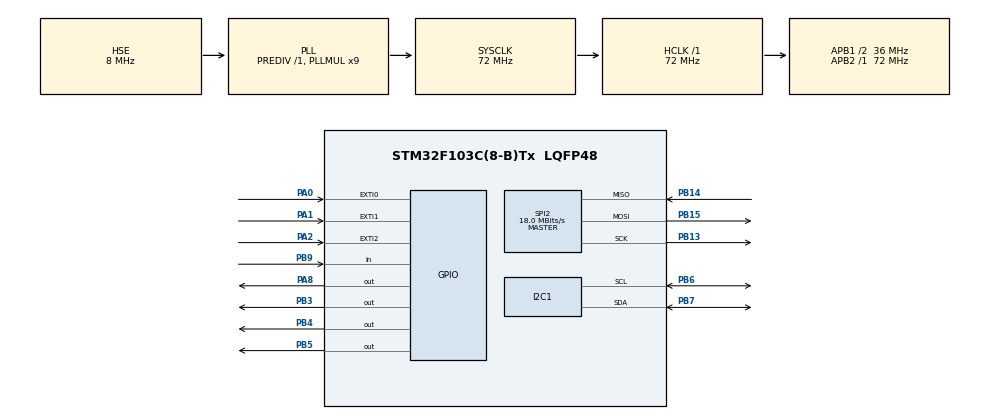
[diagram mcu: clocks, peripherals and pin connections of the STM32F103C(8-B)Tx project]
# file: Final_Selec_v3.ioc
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Mcu.Family=STM32F1
Mcu.Name=STM32F103C(8-B)Tx
Mcu.Package=LQFP48
NVIC.EXTI0_IRQn=true\:0\:0\:false\:false\:true\:true\:true\:true
NVIC.EXTI1_IRQn=true\:0\:0\:false\:false\:true\:true\:true\:true
NVIC.EXTI2_IRQn=true\:0\:0\:false\:false\:true\:true\:true\:true
NVIC.PriorityGroup=NVIC_PRIORITYGROUP_4
PA0-WKUP.GPIO_ModeDefaultEXTI=GPIO_MODE_IT_FALLING
PA0-WKUP.GPIO_PuPd=GPIO_PULLUP
PA0-WKUP.Signal=GPXTI0
PA1.GPIO_ModeDefaultEXTI=GPIO_MODE_IT_FALLING
PA1.GPIO_PuPd=GPIO_PULLUP
PA1.Signal=GPXTI1
PA13.Mode=Serial_Wire
PA13.Signal=SYS_JTMS-SWDIO
PA14.Mode=Serial_Wire
PA14.Signal=SYS_JTCK-SWCLK
PA2.GPIO_ModeDefaultEXTI=GPIO_MODE_IT_FALLING
PA2.GPIO_PuPd=GPIO_PULLUP
PA2.Signal=GPXTI2
PA8.Signal=GPIO_Output
PB13.Mode=Full_Duplex_Master
PB13.Signal=SPI2_SCK
PB14.Mode=Full_Duplex_Master
PB14.Signal=SPI2_MISO
PB15.Mode=Full_Duplex_Master
PB15.Signal=SPI2_MOSI
PB3.PinState=GPIO_PIN_RESET
PB3.Signal=GPIO_Output
PB4.Signal=GPIO_Output
PB5.Signal=GPIO_Output
PB6.Mode=I2C
PB6.Signal=I2C1_SCL
PB7.Mode=I2C
PB7.Signal=I2C1_SDA
PB9.Signal=GPIO_Input
PD0-OSC_IN.Mode=HSE-External-Oscillator
PD0-OSC_IN.Signal=RCC_OSC_IN
PD1-OSC_OUT.Mode=HSE-External-Oscillator
PD1-OSC_OUT.Signal=RCC_OSC_OUT
ProjectManager.HeapSize=0x200
ProjectManager.StackSize=0x400
ProjectManager.TargetToolchain=STM32CubeIDE
RCC.AHBFreq_Value=72000000
RCC.APB1CLKDivider=RCC_HCLK_DIV2
RCC.APB1Freq_Value=36000000
RCC.APB1TimFreq_Value=72000000
RCC.APB2Freq_Value=72000000
RCC.APB2TimFreq_Value=72000000
RCC.HCLKFreq_Value=72000000
RCC.PLLMUL=RCC_PLL_MUL9
RCC.PLLSourceVirtual=RCC_PLLSOURCE_HSE
RCC.SYSCLKFreq_VALUE=72000000
RCC.SYSCLKSource=RCC_SYSCLKSOURCE_PLLCLK
RCC.USBFreq_Value=72000000
SPI2.CalculateBaudRate=18.0 MBits/s
SPI2.Direction=SPI_DIRECTION_2LINES
SPI2.Mode=SPI_MODE_MASTER
SPI2.VirtualType=VM_MASTER
TIM1.Prescaler=71
VP_TIM1_VS_ClockSourceINT.Mode=Internal
board=custom

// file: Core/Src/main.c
/* USER CODE BEGIN Header */
/**
  ******************************************************************************
  * @file           : main.c
  * @brief          : Main program body
  ******************************************************************************
  * @attention
  *
  * Copyright (c) 2023 STMicroelectronics.
  * All rights reserved.
  *
  * This software is licensed under terms that can be found in the LICENSE file
  * in the root directory of this software component.
  * If no LICENSE file comes with this software, it is provided AS-IS.
  *
  ******************************************************************************
  */
/* USER CODE END Header */
#include "main.h"

/* USER CODE BEGIN Includes */
#include "stdio.h"

#include "MENU.h"
#include "DHT11.h"
#include "BMP280.h"
#include "liquidcrystal_i2c.h"
/* USER CODE END Includes */

I2C_HandleTypeDef hi2c1;

SPI_HandleTypeDef hspi2;

TIM_HandleTypeDef htim1;

/* USER CODE BEGIN PV */
extern int count;
extern volatile int menu_button;
/* USER CODE END PV */

void SystemClock_Config(void);
static void MX_GPIO_Init(void);
static void MX_I2C1_Init(void);
static void MX_SPI2_Init(void);
static void MX_TIM1_Init(void);

int main(void)
{

  /* MCU Configuration--------------------------------------------------------*/

  /* Reset of all peripherals, Initializes the Flash interface and the Systick. */
  HAL_Init();

  /* Configure the system clock */
  SystemClock_Config();

  /* Initialize all configured peripherals */
  MX_GPIO_Init();
  MX_I2C1_Init();
  MX_SPI2_Init();
  MX_TIM1_Init();
  /* USER CODE BEGIN 2 */

  /*****************************************************************************************************/
  /*****************************************16X2 LCD Initialization*************************************/

  HD44780_Init(2);
  HD44780_PrintStr("WELCOME!!!");

  /*****************************************************************************************************/
  /***************************************** DHT11 Timer  Start*****************************************/

  HAL_TIM_Base_Start(&htim1);
  DHT11_read_value DHT11_read_value2;  //structure to store Temperature and humidity value
  uint8_t RHI, TCI;
  char strCopy1[15];

  /*****************************************************************************************************/
  /*****************************************BMP280   Initialization*************************************/

  BMP280_init();
  char buf1[10];				 //Buffer for storing float to string converted value
  read_value read_value_main;    //structure of BMP280 measure function passing temperature,pressure,altitude value
  float t[3];
  /* USER CODE END 2 */

  /* Infinite loop */
  while (1)
  {

    /* USER CODE BEGIN 3 */
	  BMP280_get_calib_values();
	  HAL_Delay(100);

	  //Reading BMP280 sensor value in a structure
	  read_value_main=BMP280_measure();

	  t[0]=read_value_main.temp;
	  t[1]=read_value_main.press/100;
	  t[2]=-1*read_value_main.alti/100;

	  //Displaying The value collected from BMP289 sensor
	  HD44780_Clear();
	  HD44780_SetCursor(2,0);
	  gcvt(t[0], 7, buf1);
	  HD44780_PrintStr("Temperature:");
	  HD44780_SetCursor(5,1);
	  HD44780_PrintStr(buf1);
 	  HAL_Delay(1000);

	  HD44780_Clear();
	  HD44780_SetCursor(2,0);
	  gcvt(t[1], 5, buf1);
	  HD44780_PrintStr("Pressure:");
	  HD44780_SetCursor(5,1);
	  HD44780_PrintStr(buf1);
	  HAL_Delay(1000);

	  /*****************************************************************************************************************/
	  /************************************************Value from DHT11 sensor******************************************/

	  DHT11_read_value2=DHT11_Print_Value();
	  TCI =DHT11_read_value2.DHT11_temp;
	  RHI =DHT11_read_value2.DHT11_humi;

	  HD44780_Clear();
	  HD44780_SetCursor(2,0);
	  HD44780_PrintStr("Humidity:");
	  HD44780_SetCursor(5,1);
	  sprintf(strCopy1, "%d.%d %% ",RHI);
	  HD44780_PrintStr(strCopy1);
	  HAL_Delay(1000);

	  /*****************************************************************************************************************/
	  /***************************************Relay program to Take corrective measures*********************************/

	  if (t[0]>31)   //Temperature
	  {
		  HAL_GPIO_WritePin(GPIOB, GPIO_PIN_3, GPIO_PIN_SET);
	  }
	  else
	  {
		  HAL_GPIO_WritePin(GPIOB, GPIO_PIN_3, GPIO_PIN_RESET);
	  }

	  if (t[1]>970)	//Pressure
	  {
		  HAL_GPIO_WritePin(GPIOB, GPIO_PIN_4, GPIO_PIN_SET);
	  }
	  else
	  {
		  HAL_GPIO_WritePin(GPIOB, GPIO_PIN_4, GPIO_PIN_RESET);
	  }

	  if (RHI>45)		//Humidity
	  {
		  HAL_GPIO_WritePin(GPIOB, GPIO_PIN_5, GPIO_PIN_SET);
	  }
	  else
	  {
		  HAL_GPIO_WritePin(GPIOB, GPIO_PIN_5, GPIO_PIN_RESET);
	  }

	  /****************************************************************************************************************/
	  /************************************************Interrupt Button Code ******************************************/

	  if (menu_button==1 && count>0)   //interrupt
	  {
		  Menu();
	  }
  }
  /* USER CODE END 3 */
}

void SystemClock_Config(void)
{
  RCC_OscInitTypeDef RCC_OscInitStruct = {0};
  RCC_ClkInitTypeDef RCC_ClkInitStruct = {0};

  /** Initializes the RCC Oscillators according to the specified parameters
  * in the RCC_OscInitTypeDef structure.
  */
  RCC_OscInitStruct.OscillatorType = RCC_OSCILLATORTYPE_HSE;
  RCC_OscInitStruct.HSEState = RCC_HSE_ON;
  RCC_OscInitStruct.HSEPredivValue = RCC_HSE_PREDIV_DIV1;
  RCC_OscInitStruct.HSIState = RCC_HSI_ON;
  RCC_OscInitStruct.PLL.PLLState = RCC_PLL_ON;
  RCC_OscInitStruct.PLL.PLLSource = RCC_PLLSOURCE_HSE;
  RCC_OscInitStruct.PLL.PLLMUL = RCC_PLL_MUL9;
  if (HAL_RCC_OscConfig(&RCC_OscInitStruct) != HAL_OK)
  {
    Error_Handler();
  }

  /** Initializes the CPU, AHB and APB buses clocks
  */
  RCC_ClkInitStruct.ClockType = RCC_CLOCKTYPE_HCLK|RCC_CLOCKTYPE_SYSCLK
                              |RCC_CLOCKTYPE_PCLK1|RCC_CLOCKTYPE_PCLK2;
  RCC_ClkInitStruct.SYSCLKSource = RCC_SYSCLKSOURCE_PLLCLK;
  RCC_ClkInitStruct.AHBCLKDivider = RCC_SYSCLK_DIV1;
  RCC_ClkInitStruct.APB1CLKDivider = RCC_HCLK_DIV2;
  RCC_ClkInitStruct.APB2CLKDivider = RCC_HCLK_DIV1;

  if (HAL_RCC_ClockConfig(&RCC_ClkInitStruct, FLASH_LATENCY_2) != HAL_OK)
  {
    Error_Handler();
  }
}

static void MX_I2C1_Init(void)
{

  hi2c1.Instance = I2C1;
  hi2c1.Init.ClockSpeed = 100000;
  hi2c1.Init.DutyCycle = I2C_DUTYCYCLE_2;
  hi2c1.Init.OwnAddress1 = 0;
  hi2c1.Init.AddressingMode = I2C_ADDRESSINGMODE_7BIT;
  hi2c1.Init.DualAddressMode = I2C_DUALADDRESS_DISABLE;
  hi2c1.Init.OwnAddress2 = 0;
  hi2c1.Init.GeneralCallMode = I2C_GENERALCALL_DISABLE;
  hi2c1.Init.NoStretchMode = I2C_NOSTRETCH_DISABLE;
  if (HAL_I2C_Init(&hi2c1) != HAL_OK)
  {
    Error_Handler();
  }

}

static void MX_SPI2_Init(void)
{

  /* SPI2 parameter configuration*/
  hspi2.Instance = SPI2;
  hspi2.Init.Mode = SPI_MODE_MASTER;
  hspi2.Init.Direction = SPI_DIRECTION_2LINES;
  hspi2.Init.DataSize = SPI_DATASIZE_8BIT;
  hspi2.Init.CLKPolarity = SPI_POLARITY_LOW;
  hspi2.Init.CLKPhase = SPI_PHASE_1EDGE;
  hspi2.Init.NSS = SPI_NSS_SOFT;
  hspi2.Init.BaudRatePrescaler = SPI_BAUDRATEPRESCALER_2;
  hspi2.Init.FirstBit = SPI_FIRSTBIT_MSB;
  hspi2.Init.TIMode = SPI_TIMODE_DISABLE;
  hspi2.Init.CRCCalculation = SPI_CRCCALCULATION_DISABLE;
  hspi2.Init.CRCPolynomial = 10;
  if (HAL_SPI_Init(&hspi2) != HAL_OK)
  {
    Error_Handler();
  }

}

static void MX_TIM1_Init(void)
{

  TIM_ClockConfigTypeDef sClockSourceConfig = {0};
  TIM_MasterConfigTypeDef sMasterConfig = {0};

  htim1.Instance = TIM1;
  htim1.Init.Prescaler = 71;
  htim1.Init.CounterMode = TIM_COUNTERMODE_UP;
  htim1.Init.Period = 65535;
  htim1.Init.ClockDivision = TIM_CLOCKDIVISION_DIV1;
  htim1.Init.RepetitionCounter = 0;
  htim1.Init.AutoReloadPreload = TIM_AUTORELOAD_PRELOAD_DISABLE;
  if (HAL_TIM_Base_Init(&htim1) != HAL_OK)
  {
    Error_Handler();
  }
  sClockSourceConfig.ClockSource = TIM_CLOCKSOURCE_INTERNAL;
  if (HAL_TIM_ConfigClockSource(&htim1, &sClockSourceConfig) != HAL_OK)
  {
    Error_Handler();
  }
  sMasterConfig.MasterOutputTrigger = TIM_TRGO_RESET;
  sMasterConfig.MasterSlaveMode = TIM_MASTERSLAVEMODE_DISABLE;
  if (HAL_TIMEx_MasterConfigSynchronization(&htim1, &sMasterConfig) != HAL_OK)
  {
    Error_Handler();
  }

}

static void MX_GPIO_Init(void)
{
  GPIO_InitTypeDef GPIO_InitStruct = {0};

  /* GPIO Ports Clock Enable */
  __HAL_RCC_GPIOD_CLK_ENABLE();
  __HAL_RCC_GPIOA_CLK_ENABLE();
  __HAL_RCC_GPIOB_CLK_ENABLE();

  /*Configure GPIO pin Output Level */
  HAL_GPIO_WritePin(GPIOA, GPIO_PIN_8, GPIO_PIN_RESET);

  /*Configure GPIO pin Output Level */
  HAL_GPIO_WritePin(GPIOB, GPIO_PIN_3|GPIO_PIN_4|GPIO_PIN_5, GPIO_PIN_RESET);

  /*Configure GPIO pins : PA0 PA1 PA2 */
  GPIO_InitStruct.Pin = GPIO_PIN_0|GPIO_PIN_1|GPIO_PIN_2;
  GPIO_InitStruct.Mode = GPIO_MODE_IT_FALLING;
  GPIO_InitStruct.Pull = GPIO_PULLUP;
  HAL_GPIO_Init(GPIOA, &GPIO_InitStruct);

  /*Configure GPIO pin : PA8 */
  GPIO_InitStruct.Pin = GPIO_PIN_8;
  GPIO_InitStruct.Mode = GPIO_MODE_OUTPUT_PP;
  GPIO_InitStruct.Pull = GPIO_NOPULL;
  GPIO_InitStruct.Speed = GPIO_SPEED_FREQ_LOW;
  HAL_GPIO_Init(GPIOA, &GPIO_InitStruct);

  /*Configure GPIO pins : PB3 PB4 PB5 */
  GPIO_InitStruct.Pin = GPIO_PIN_3|GPIO_PIN_4|GPIO_PIN_5;
  GPIO_InitStruct.Mode = GPIO_MODE_OUTPUT_PP;
  GPIO_InitStruct.Pull = GPIO_NOPULL;
  GPIO_InitStruct.Speed = GPIO_SPEED_FREQ_LOW;
  HAL_GPIO_Init(GPIOB, &GPIO_InitStruct);

  /*Configure GPIO pin : PB9 */
  GPIO_InitStruct.Pin = GPIO_PIN_9;
  GPIO_InitStruct.Mode = GPIO_MODE_INPUT;
  GPIO_InitStruct.Pull = GPIO_NOPULL;
  HAL_GPIO_Init(GPIOB, &GPIO_InitStruct);

  /* EXTI interrupt init*/
  HAL_NVIC_SetPriority(EXTI0_IRQn, 0, 0);
  HAL_NVIC_EnableIRQ(EXTI0_IRQn);

  HAL_NVIC_SetPriority(EXTI1_IRQn, 0, 0);
  HAL_NVIC_EnableIRQ(EXTI1_IRQn);

  HAL_NVIC_SetPriority(EXTI2_IRQn, 0, 0);
  HAL_NVIC_EnableIRQ(EXTI2_IRQn);

}

void Error_Handler(void)
{
  __disable_irq();
  while (1)
  {
  }
}
